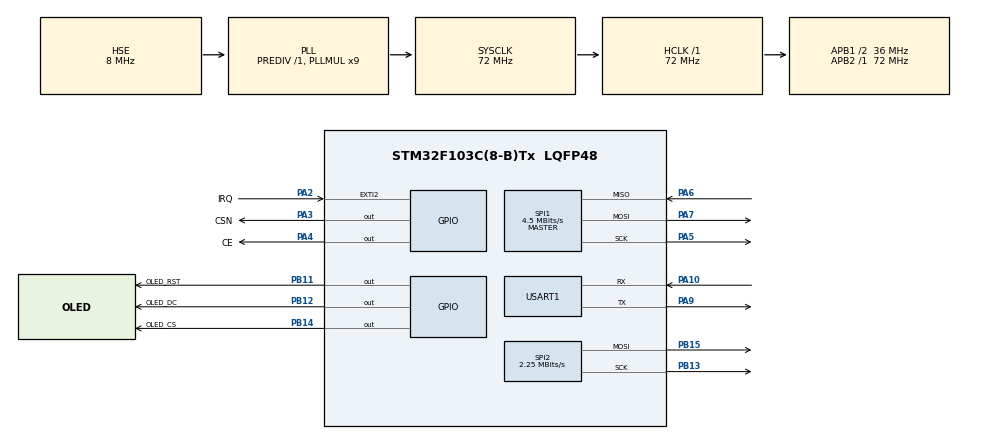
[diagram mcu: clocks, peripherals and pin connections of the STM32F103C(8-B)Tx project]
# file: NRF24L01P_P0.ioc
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Mcu.Family=STM32F1
Mcu.Name=STM32F103C(8-B)Tx
Mcu.Package=LQFP48
NVIC.EXTI2_IRQn=true\:0\:0\:false\:false\:true\:true\:true\:true
NVIC.PriorityGroup=NVIC_PRIORITYGROUP_4
NVIC.USART1_IRQn=true\:0\:0\:false\:false\:true\:true\:true\:true
PA10.Mode=Asynchronous
PA10.Signal=USART1_RX
PA13.Mode=Serial_Wire
PA13.Signal=SYS_JTMS-SWDIO
PA14.Mode=Serial_Wire
PA14.Signal=SYS_JTCK-SWCLK
PA2.GPIO_Label=IRQ
PA2.GPIO_ModeDefaultEXTI=GPIO_MODE_IT_FALLING
PA2.GPIO_PuPd=GPIO_PULLUP
PA2.Signal=GPXTI2
PA3.GPIO_Label=CSN
PA3.GPIO_PuPd=GPIO_PULLUP
PA3.GPIO_Speed=GPIO_SPEED_FREQ_HIGH
PA3.PinState=GPIO_PIN_SET
PA3.Signal=GPIO_Output
PA4.GPIO_Label=CE
PA4.GPIO_PuPd=GPIO_PULLDOWN
PA4.GPIO_Speed=GPIO_SPEED_FREQ_HIGH
PA4.Signal=GPIO_Output
PA5.Mode=Full_Duplex_Master
PA5.Signal=SPI1_SCK
PA6.Mode=Full_Duplex_Master
PA6.Signal=SPI1_MISO
PA7.Mode=Full_Duplex_Master
PA7.Signal=SPI1_MOSI
PA9.Mode=Asynchronous
PA9.Signal=USART1_TX
PB11.GPIO_Label=OLED_RST
PB11.GPIO_PuPd=GPIO_PULLUP
PB11.GPIO_Speed=GPIO_SPEED_FREQ_HIGH
PB11.PinState=GPIO_PIN_SET
PB11.Signal=GPIO_Output
PB12.GPIO_Label=OLED_DC
PB12.GPIO_PuPd=GPIO_PULLUP
PB12.GPIO_Speed=GPIO_SPEED_FREQ_HIGH
PB12.PinState=GPIO_PIN_SET
PB12.Signal=GPIO_Output
PB13.Mode=TX_Only_Simplex_Unidirect_Master
PB13.Signal=SPI2_SCK
PB14.GPIO_Label=OLED_CS
PB14.GPIO_PuPd=GPIO_PULLUP
PB14.GPIO_Speed=GPIO_SPEED_FREQ_HIGH
PB14.PinState=GPIO_PIN_SET
PB14.Signal=GPIO_Output
PB15.Mode=TX_Only_Simplex_Unidirect_Master
PB15.Signal=SPI2_MOSI
PD0-OSC_IN.Mode=HSE-External-Oscillator
PD0-OSC_IN.Signal=RCC_OSC_IN
PD1-OSC_OUT.Mode=HSE-External-Oscillator
PD1-OSC_OUT.Signal=RCC_OSC_OUT
ProjectManager.HeapSize=0x200
ProjectManager.StackSize=0x400
ProjectManager.TargetToolchain=STM32CubeIDE
RCC.AHBFreq_Value=72000000
RCC.APB1CLKDivider=RCC_HCLK_DIV2
RCC.APB1Freq_Value=36000000
RCC.APB1TimFreq_Value=72000000
RCC.APB2Freq_Value=72000000
RCC.APB2TimFreq_Value=72000000
RCC.HCLKFreq_Value=72000000
RCC.PLLMUL=RCC_PLL_MUL9
RCC.PLLSourceVirtual=RCC_PLLSOURCE_HSE
RCC.SYSCLKFreq_VALUE=72000000
RCC.SYSCLKSource=RCC_SYSCLKSOURCE_PLLCLK
RCC.USBFreq_Value=72000000
SPI1.BaudRatePrescaler=SPI_BAUDRATEPRESCALER_16
SPI1.CalculateBaudRate=4.5 MBits/s
SPI1.Direction=SPI_DIRECTION_2LINES
SPI1.Mode=SPI_MODE_MASTER
SPI1.VirtualType=VM_MASTER
SPI2.BaudRatePrescaler=SPI_BAUDRATEPRESCALER_16
SPI2.CalculateBaudRate=2.25 MBits/s
SPI2.Direction=SPI_DIRECTION_2LINES
SPI2.Mode=SPI_MODE_MASTER
SPI2.VirtualType=VM_MASTER
USART1.VirtualMode=VM_ASYNC
board=custom

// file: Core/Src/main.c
/* USER CODE BEGIN Header */
/**
 ******************************************************************************
 * @file           : main.c
 * @brief          : Main program body
 ******************************************************************************
 * @attention
 *
 * Copyright (c) 2023 STMicroelectronics.
 * All rights reserved.
 *
 * This software is licensed under terms that can be found in the LICENSE file
 * in the root directory of this software component.
 * If no LICENSE file comes with this software, it is provided AS-IS.
 *
 ******************************************************************************
 */
/* USER CODE END Header */
#include "main.h"

/* USER CODE BEGIN Includes */
#include "stdio.h"
#include "stdlib.h"
#include "string.h"
#include "nrf24l01p.h"
#include "uart.h"
#include "u8g2.h"

/* USER CODE END Includes */

SPI_HandleTypeDef hspi1;
SPI_HandleTypeDef hspi2;

UART_HandleTypeDef huart1;

/* USER CODE BEGIN PV */
uint8_t nrf24l01p_rx_flag = 0;
extern ring_buffer_t uart_rx;

//uint8_t address[5]={0xE7,0xE7,0xE7,0xE7,0xE7};

uint8_t P0_address[6] = "node0";
uint8_t P1_address[6] = "node1";

uint8_t rx_data[NRF24L01P_PAYLOAD_LENGTH] = { 0 };
uint8_t tx_data[NRF24L01P_PAYLOAD_LENGTH] = { 0 };
/* USER CODE END PV */

void SystemClock_Config(void);
static void MX_GPIO_Init(void);
static void MX_SPI1_Init(void);
static void MX_USART1_UART_Init(void);
static void MX_SPI2_Init(void);
/* USER CODE BEGIN PFP */
void HAL_GPIO_EXTI_Callback(uint16_t GPIO_Pin);
/* USER CODE END PFP */

/* USER CODE BEGIN 0 */
extern uint8_t u8x8_stm32_gpio_and_delay(u8x8_t *u8x8, uint8_t msg,
		uint8_t arg_int, void *arg_ptr);
extern uint8_t u8x8_byte_stm32_hw_spi(u8x8_t *u8x8, uint8_t msg,
		uint8_t arg_int, void *arg_ptr);

static u8g2_t u8g2;
/* USER CODE END 0 */

int main(void) {

	/* MCU Configuration--------------------------------------------------------*/

	/* Reset of all peripherals, Initializes the Flash interface and the Systick. */
	HAL_Init();

	/* Configure the system clock */
	SystemClock_Config();

	/* Initialize all configured peripherals */
	MX_GPIO_Init();
	MX_SPI1_Init();
	MX_USART1_UART_Init();
	MX_SPI2_Init();
	/* USER CODE BEGIN 2 */

	/*
	 u8g2_Setup_ssd1306_128x64_noname_f(&u8g2, U8G2_R0, u8x8_byte_stm32_hw_spi,
	 u8x8_stm32_gpio_and_delay);

	 u8g2_InitDisplay(&u8g2);
	 u8g2_SetPowerSave(&u8g2, 0);

	 //u8g2_SetFont(&u8g2, u8g2_font_5x7_tr);
	 //u8g2_SetFont(&u8g2, u8g2_font_6x13_mr);
	 u8g2_SetFont(&u8g2, u8g2_font_inb16_mr);

	 //u8g2_SetDisplayRotation(&u8g2, U8G2_R2);
	 */

	nrf24l01p_rx_init(2500, _1Mbps, P0_address, P1_address);

	rxBufferInit(&uart_rx);

	/* Enable the UART Error Interrupt: (Frame error, noise error, overrun error) */
	__HAL_UART_ENABLE_IT(&huart1, UART_IT_ERR);

	/* Enable the UART Data Register not empty Interrupt */
	__HAL_UART_ENABLE_IT(&huart1, UART_IT_RXNE);

	/* USER CODE END 2 */

	/* Infinite loop */
	while (1) {

		/* USER CODE BEGIN 3 */

		/*
		 u8g2_FirstPage(&u8g2);
		 do {
		 u8g2_DrawStr(&u8g2, 5, 21, rx_data);
		 } while (u8g2_NextPage(&u8g2));
		 */

		if (nrf24l01p_rx_flag == 1) {
			nrf24l01p_rx_flag =0;
			uint8_t stat = read_register(NRF24L01P_REG_CONFIG);
			if (!(stat & (1 << 0))) {

				nrf24l01p_prx_mode();

			}

			//nrf24l01p_flush_rx_fifo();
			nrf24l01p_rx_receive(rx_data);
			HAL_UART_Transmit(&huart1, rx_data, sizeof(rx_data), 500);
		}

		memset(tx_data, 0, sizeof(tx_data));
		int num = 0;
		if (num = uart_available(&uart_rx)) {

			nrf24l01p_ptx_mode();

			for (int i = 0; i < num; i++) {

				int ch = pop(&uart_rx);
				if (ch != -1) {
					tx_data[i] = ch;
				}
			}

			nrf24l01p_flush_tx_fifo();
			nrf24l01p_tx_transmit(tx_data);
			HAL_Delay(100);
			//HAL_UART_Transmit(&huart1, tx_data, sizeof(tx_data), 500);
			nrf24l01p_prx_mode();
		}

		HAL_Delay(100);
	}
	/* USER CODE END 3 */
}

void SystemClock_Config(void) {
	RCC_OscInitTypeDef RCC_OscInitStruct = { 0 };
	RCC_ClkInitTypeDef RCC_ClkInitStruct = { 0 };

	/** Initializes the RCC Oscillators according to the specified parameters
	 * in the RCC_OscInitTypeDef structure.
	 */
	RCC_OscInitStruct.OscillatorType = RCC_OSCILLATORTYPE_HSE;
	RCC_OscInitStruct.HSEState = RCC_HSE_ON;
	RCC_OscInitStruct.HSEPredivValue = RCC_HSE_PREDIV_DIV1;
	RCC_OscInitStruct.HSIState = RCC_HSI_ON;
	RCC_OscInitStruct.PLL.PLLState = RCC_PLL_ON;
	RCC_OscInitStruct.PLL.PLLSource = RCC_PLLSOURCE_HSE;
	RCC_OscInitStruct.PLL.PLLMUL = RCC_PLL_MUL9;
	if (HAL_RCC_OscConfig(&RCC_OscInitStruct) != HAL_OK) {
		Error_Handler();
	}

	/** Initializes the CPU, AHB and APB buses clocks
	 */
	RCC_ClkInitStruct.ClockType = RCC_CLOCKTYPE_HCLK | RCC_CLOCKTYPE_SYSCLK
			| RCC_CLOCKTYPE_PCLK1 | RCC_CLOCKTYPE_PCLK2;
	RCC_ClkInitStruct.SYSCLKSource = RCC_SYSCLKSOURCE_PLLCLK;
	RCC_ClkInitStruct.AHBCLKDivider = RCC_SYSCLK_DIV1;
	RCC_ClkInitStruct.APB1CLKDivider = RCC_HCLK_DIV2;
	RCC_ClkInitStruct.APB2CLKDivider = RCC_HCLK_DIV1;

	if (HAL_RCC_ClockConfig(&RCC_ClkInitStruct, FLASH_LATENCY_2) != HAL_OK) {
		Error_Handler();
	}
}

static void MX_SPI1_Init(void) {

	/* SPI1 parameter configuration*/
	hspi1.Instance = SPI1;
	hspi1.Init.Mode = SPI_MODE_MASTER;
	hspi1.Init.Direction = SPI_DIRECTION_2LINES;
	hspi1.Init.DataSize = SPI_DATASIZE_8BIT;
	hspi1.Init.CLKPolarity = SPI_POLARITY_LOW;
	hspi1.Init.CLKPhase = SPI_PHASE_1EDGE;
	hspi1.Init.NSS = SPI_NSS_SOFT;
	hspi1.Init.BaudRatePrescaler = SPI_BAUDRATEPRESCALER_16;
	hspi1.Init.FirstBit = SPI_FIRSTBIT_MSB;
	hspi1.Init.TIMode = SPI_TIMODE_DISABLE;
	hspi1.Init.CRCCalculation = SPI_CRCCALCULATION_DISABLE;
	hspi1.Init.CRCPolynomial = 10;
	if (HAL_SPI_Init(&hspi1) != HAL_OK) {
		Error_Handler();
	}

}

static void MX_SPI2_Init(void) {

	/* SPI2 parameter configuration*/
	hspi2.Instance = SPI2;
	hspi2.Init.Mode = SPI_MODE_MASTER;
	hspi2.Init.Direction = SPI_DIRECTION_2LINES;
	hspi2.Init.DataSize = SPI_DATASIZE_8BIT;
	hspi2.Init.CLKPolarity = SPI_POLARITY_LOW;
	hspi2.Init.CLKPhase = SPI_PHASE_1EDGE;
	hspi2.Init.NSS = SPI_NSS_SOFT;
	hspi2.Init.BaudRatePrescaler = SPI_BAUDRATEPRESCALER_16;
	hspi2.Init.FirstBit = SPI_FIRSTBIT_MSB;
	hspi2.Init.TIMode = SPI_TIMODE_DISABLE;
	hspi2.Init.CRCCalculation = SPI_CRCCALCULATION_DISABLE;
	hspi2.Init.CRCPolynomial = 10;
	if (HAL_SPI_Init(&hspi2) != HAL_OK) {
		Error_Handler();
	}

}

static void MX_USART1_UART_Init(void) {

	huart1.Instance = USART1;
	huart1.Init.BaudRate = 115200;
	huart1.Init.WordLength = UART_WORDLENGTH_8B;
	huart1.Init.StopBits = UART_STOPBITS_1;
	huart1.Init.Parity = UART_PARITY_NONE;
	huart1.Init.Mode = UART_MODE_TX_RX;
	huart1.Init.HwFlowCtl = UART_HWCONTROL_NONE;
	huart1.Init.OverSampling = UART_OVERSAMPLING_16;
	if (HAL_UART_Init(&huart1) != HAL_OK) {
		Error_Handler();
	}

}

static void MX_GPIO_Init(void) {
	GPIO_InitTypeDef GPIO_InitStruct = { 0 };

	/* GPIO Ports Clock Enable */
	__HAL_RCC_GPIOD_CLK_ENABLE();
	__HAL_RCC_GPIOA_CLK_ENABLE();
	__HAL_RCC_GPIOB_CLK_ENABLE();

	/*Configure GPIO pin Output Level */
	HAL_GPIO_WritePin(CSN_GPIO_Port, CSN_Pin, GPIO_PIN_SET);

	/*Configure GPIO pin Output Level */
	HAL_GPIO_WritePin(CE_GPIO_Port, CE_Pin, GPIO_PIN_RESET);

	/*Configure GPIO pin Output Level */
	HAL_GPIO_WritePin(GPIOB, OLED_RST_Pin | OLED_DC_Pin | OLED_CS_Pin,
			GPIO_PIN_SET);

	/*Configure GPIO pin : IRQ_Pin */
	GPIO_InitStruct.Pin = IRQ_Pin;
	GPIO_InitStruct.Mode = GPIO_MODE_IT_FALLING;
	GPIO_InitStruct.Pull = GPIO_PULLUP;
	HAL_GPIO_Init(IRQ_GPIO_Port, &GPIO_InitStruct);

	/*Configure GPIO pin : CSN_Pin */
	GPIO_InitStruct.Pin = CSN_Pin;
	GPIO_InitStruct.Mode = GPIO_MODE_OUTPUT_PP;
	GPIO_InitStruct.Pull = GPIO_PULLUP;
	GPIO_InitStruct.Speed = GPIO_SPEED_FREQ_HIGH;
	HAL_GPIO_Init(CSN_GPIO_Port, &GPIO_InitStruct);

	/*Configure GPIO pin : CE_Pin */
	GPIO_InitStruct.Pin = CE_Pin;
	GPIO_InitStruct.Mode = GPIO_MODE_OUTPUT_PP;
	GPIO_InitStruct.Pull = GPIO_PULLDOWN;
	GPIO_InitStruct.Speed = GPIO_SPEED_FREQ_HIGH;
	HAL_GPIO_Init(CE_GPIO_Port, &GPIO_InitStruct);

	/*Configure GPIO pins : OLED_RST_Pin OLED_DC_Pin OLED_CS_Pin */
	GPIO_InitStruct.Pin = OLED_RST_Pin | OLED_DC_Pin | OLED_CS_Pin;
	GPIO_InitStruct.Mode = GPIO_MODE_OUTPUT_PP;
	GPIO_InitStruct.Pull = GPIO_PULLUP;
	GPIO_InitStruct.Speed = GPIO_SPEED_FREQ_HIGH;
	HAL_GPIO_Init(GPIOB, &GPIO_InitStruct);

	/* EXTI interrupt init*/
	HAL_NVIC_SetPriority(EXTI2_IRQn, 0, 0);
	HAL_NVIC_EnableIRQ(EXTI2_IRQn);

}

/* USER CODE BEGIN 4 */
void HAL_GPIO_EXTI_Callback(uint16_t GPIO_Pin) {
	if (GPIO_Pin == NRF24L01P_IRQ_PIN_NUMBER) {
		nrf24l01p_rx_flag=1;
	}

}
/* USER CODE END 4 */

void Error_Handler(void) {
	__disable_irq();
	while (1) {
	}
}
